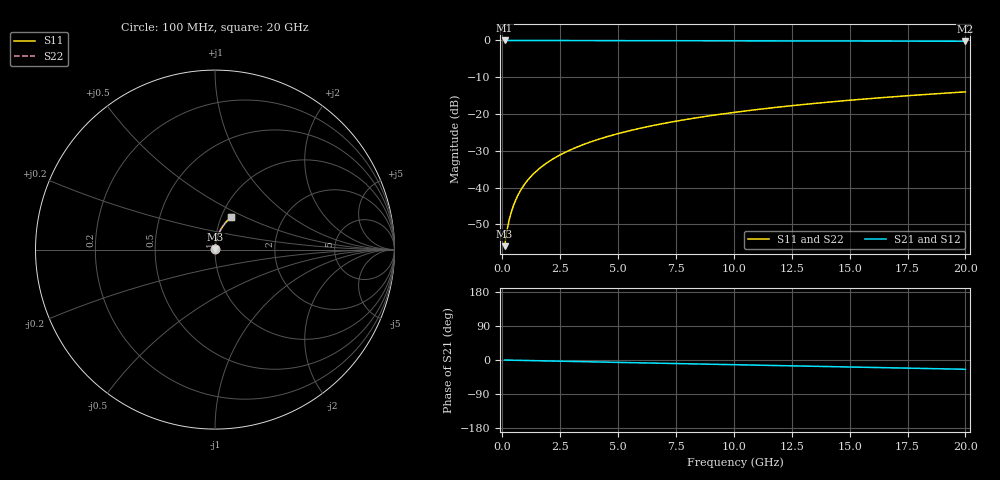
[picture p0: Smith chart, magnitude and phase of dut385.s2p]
! Touchstone file exported from HFSS 2026.1.0
!  File:  C:/ffzhzh/LocalFiles/Ansys_Project_Files/temp_train_BSMRDL_385_1783012043_4048.aedt
!  Generated:  01:08:44 AM Jul  3, 2026
!  Design:  BSMRDL
!  Project:  temp_train_BSMRDL_385_1783012043_4048
! Variables:
!  h_bsmrdl = 5.35um
!  h_ox = 20um
!  h_rdl = 5um
!  h_sub = 80um
!  h_tmrdl = 5um
!  h_tsv = 80um
!  h_via = 3um
!  l_bsmrdl = 351.01um
!  l_sub = 751.01um
!  l_tmrdl = 200um
!  m_sub = 200um
!  pitch = 52.54um
!  r_tsv = 6um
!  s_tmrdl = 10um
!  w_bsmrdl = 28.66um
!  w_sub = 500um
!  w_tmrdl = 12um
!  x_tsv_center1 = 206um
!  x_tsv_center2 = 585.67um
!  x_tsv_center3 = 797.67um
!  x_tsv_center4 = 1177.34um
!  x_tsv_center5 = 1389.34um
!  x_tsv_center6 = 1769.01um
# GHz S MA R 50.000000
! Terminal data exported
! Port[1] = BSM_RDL1_1_T1
! Port[2] = BSM_RDL1_1_T2
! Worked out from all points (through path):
!   200 points, 100 MHz to 20 GHz, reference 50 ohm
!   highest |S21| = -0.01 dB at 100 MHz (marker M1); lowest = -0.2 dB at 20 GHz (marker M2)
!   group delay of S21, straight-line fit = 3.39 ps
!   lowest |S11| = -56.0 dB at 100 MHz (marker M3), VSWR 1.00, Z = 50.1 + j0.124 ohm
!   |S11| at or under -10 dB: start of sweep to end of sweep
!   |S22| runs from -56.0 to -14.0 dB; largest |S21 - S12| = 4.1e-15
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0.1  0.001593 50.9  0.999 -0.1  0.999 -0.1  0.001593 50.9
! Gamma 0 0 0 0
! Port Impedance 50 0 50 0
0.2  0.002584 68.2  0.9989 -0.3  0.9989 -0.3  0.002581 68.2
0.3  0.00366 74.9  0.9988 -0.4  0.9988 -0.4  0.003657 74.9
0.4  0.004765 78.2  0.9988 -0.5  0.9988 -0.5  0.004761 78.2
0.5  0.005882 80.1  0.9987 -0.6  0.9987 -0.6  0.005878 80.0
0.7  0.008127 81.9  0.9986 -0.9  0.9986 -0.9  0.008122 81.9
0.8  0.009248 82.4  0.9986 -1.0  0.9986 -1.0  0.009243 82.4
1  0.01148 83.0  0.9985 -1.3  0.9985 -1.3  0.01148 83.0
1.2  0.0137 83.2  0.9985 -1.5  0.9985 -1.5  0.0137 83.2
1.4  0.01591 83.3  0.9984 -1.8  0.9984 -1.8  0.0159 83.3
1.7  0.01919 83.2  0.9982 -2.2  0.9982 -2.2  0.01918 83.2
2  0.02243 83.1  0.998 -2.6  0.998 -2.6  0.02243 83.1
2.7  0.02992 82.6  0.9975 -3.4  0.9975 -3.4  0.02992 82.6
3.5  0.03837 82.0  0.9969 -4.4  0.9969 -4.4  0.03837 82.0
4.2  0.04571 81.3  0.9963 -5.3  0.9963 -5.3  0.04571 81.3
5  0.05404 80.5  0.9956 -6.3  0.9956 -6.3  0.05404 80.5
6.8  0.07259 78.7  0.9938 -8.5  0.9938 -8.5  0.07259 78.7
8.3  0.08785 77.0  0.9922 -10.4  0.9922 -10.4  0.08785 77.0
10.1  0.1059 75.1  0.99 -12.6  0.99 -12.6  0.1059 75.1
13.4  0.1383 71.3  0.9853 -16.6  0.9853 -16.6  0.1383 71.3
16.7  0.1696 67.6  0.9799 -20.5  0.9799 -20.5  0.1696 67.6
20  0.1996 63.8  0.9738 -24.5  0.9738 -24.5  0.1996 63.8
